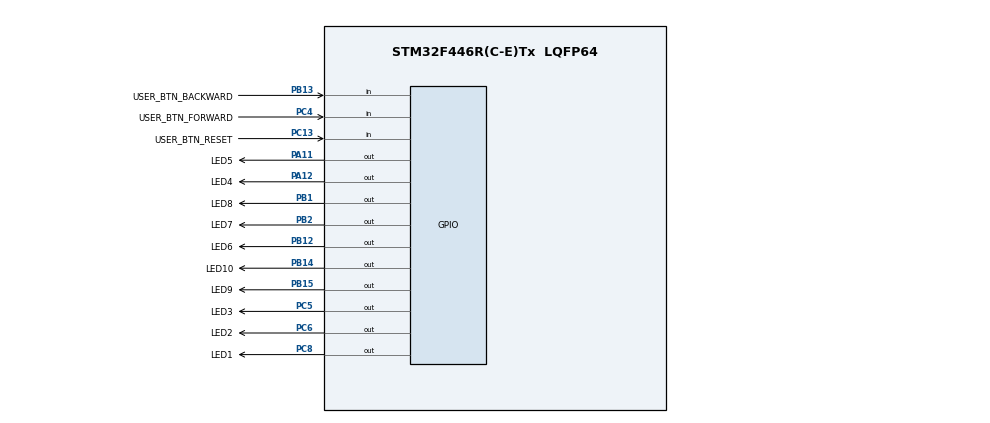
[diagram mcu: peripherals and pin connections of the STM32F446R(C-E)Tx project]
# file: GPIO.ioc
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Mcu.Family=STM32F4
Mcu.Name=STM32F446R(C-E)Tx
Mcu.Package=LQFP64
NVIC.PriorityGroup=NVIC_PRIORITYGROUP_4
PA11.GPIO_Label=LED5
PA11.Signal=GPIO_Output
PA12.GPIO_Label=LED4
PA12.Signal=GPIO_Output
PB1.GPIO_Label=LED8
PB1.Signal=GPIO_Output
PB12.GPIO_Label=LED6
PB12.Signal=GPIO_Output
PB13.GPIO_Label=USER_BTN_BACKWARD
PB13.GPIO_PuPd=GPIO_PULLUP
PB13.Signal=GPIO_Input
PB14.GPIO_Label=LED10
PB14.Signal=GPIO_Output
PB15.GPIO_Label=LED9
PB15.Signal=GPIO_Output
PB2.GPIO_Label=LED7
PB2.Signal=GPIO_Output
PC13.GPIO_Label=USER_BTN_RESET
PC13.GPIO_PuPd=GPIO_PULLUP
PC13.Signal=GPIO_Input
PC4.GPIO_Label=USER_BTN_FORWARD
PC4.GPIO_PuPd=GPIO_PULLUP
PC4.Signal=GPIO_Input
PC5.GPIO_Label=LED3
PC5.Signal=GPIO_Output
PC6.GPIO_Label=LED2
PC6.Signal=GPIO_Output
PC8.GPIO_Label=LED1
PC8.Signal=GPIO_Output
ProjectManager.HeapSize=0x200
ProjectManager.StackSize=0x400
ProjectManager.TargetToolchain=STM32CubeIDE
RCC.CortexFreq_Value=16000000
RCC.USBFreq_Value=96000000
RCC.VCOOutputFreq_Value=192000000
board=custom

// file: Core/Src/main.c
/* USER CODE BEGIN Header */
/**
  ******************************************************************************
  * @file           : main.c
  * @brief          : Main program body
  ******************************************************************************
  * @attention
  *
  * Copyright (c) 2023 STMicroelectronics.
  * All rights reserved.
  *
  * This software is licensed under terms that can be found in the LICENSE file
  * in the root directory of this software component.
  * If no LICENSE file comes with this software, it is provided AS-IS.
  *
  ******************************************************************************
  */
/* USER CODE END Header */
#include "main.h"
#include "gpio.h"

/* USER CODE BEGIN Includes */
#include "led_line.h"

/* USER CODE END Includes */

void SystemClock_Config(void);

int main(void)
{

  /* MCU Configuration--------------------------------------------------------*/

  /* Reset of all peripherals, Initializes the Flash interface and the Systick. */
  HAL_Init();

  /* Configure the system clock */
  SystemClock_Config();

  /* Initialize all configured peripherals */
  MX_GPIO_Init();

  /* Infinite loop */
  /* USER CODE BEGIN WHILE */

  int led = 0;
  led_line_set(led, true);

  while (1)
  {
	  if (is_button_pressed(FORWARD_BTN)) {
		  led_line_set(led, false);

		  led++;

		  if (led >= 10) {
			  led = 0;
		  }

		  led_line_set(led, true);

		  while (is_button_pressed(FORWARD_BTN)) {}

		  HAL_Delay(20);
	  }

	  if (is_button_pressed(BACKWARD_BTN)) {
		  led_line_set(led, false);

		  led--;

		  if (led < 0) {
			  led = 9;
		  }

		  led_line_set(led, true);

		  while(is_button_pressed(BACKWARD_BTN)) {}

		  HAL_Delay(20);
	  }

	  if (is_button_pressed(RESET_BTN)) {
		  led_line_reset(&led);

		  while(is_button_pressed(RESET_BTN)) {}
	  }
    /* USER CODE END WHILE */

  }
}

void SystemClock_Config(void)
{
  RCC_OscInitTypeDef RCC_OscInitStruct = {0};
  RCC_ClkInitTypeDef RCC_ClkInitStruct = {0};

  /** Configure the main internal regulator output voltage
  */
  __HAL_RCC_PWR_CLK_ENABLE();
  __HAL_PWR_VOLTAGESCALING_CONFIG(PWR_REGULATOR_VOLTAGE_SCALE3);

  /** Initializes the RCC Oscillators according to the specified parameters
  * in the RCC_OscInitTypeDef structure.
  */
  RCC_OscInitStruct.OscillatorType = RCC_OSCILLATORTYPE_HSI;
  RCC_OscInitStruct.HSIState = RCC_HSI_ON;
  RCC_OscInitStruct.HSICalibrationValue = RCC_HSICALIBRATION_DEFAULT;
  RCC_OscInitStruct.PLL.PLLState = RCC_PLL_NONE;
  if (HAL_RCC_OscConfig(&RCC_OscInitStruct) != HAL_OK)
  {
    Error_Handler();
  }

  /** Initializes the CPU, AHB and APB buses clocks
  */
  RCC_ClkInitStruct.ClockType = RCC_CLOCKTYPE_HCLK|RCC_CLOCKTYPE_SYSCLK
                              |RCC_CLOCKTYPE_PCLK1|RCC_CLOCKTYPE_PCLK2;
  RCC_ClkInitStruct.SYSCLKSource = RCC_SYSCLKSOURCE_HSI;
  RCC_ClkInitStruct.AHBCLKDivider = RCC_SYSCLK_DIV1;
  RCC_ClkInitStruct.APB1CLKDivider = RCC_HCLK_DIV1;
  RCC_ClkInitStruct.APB2CLKDivider = RCC_HCLK_DIV1;

  if (HAL_RCC_ClockConfig(&RCC_ClkInitStruct, FLASH_LATENCY_0) != HAL_OK)
  {
    Error_Handler();
  }
}

void Error_Handler(void)
{
  __disable_irq();
  while (1)
  {
  }
}
